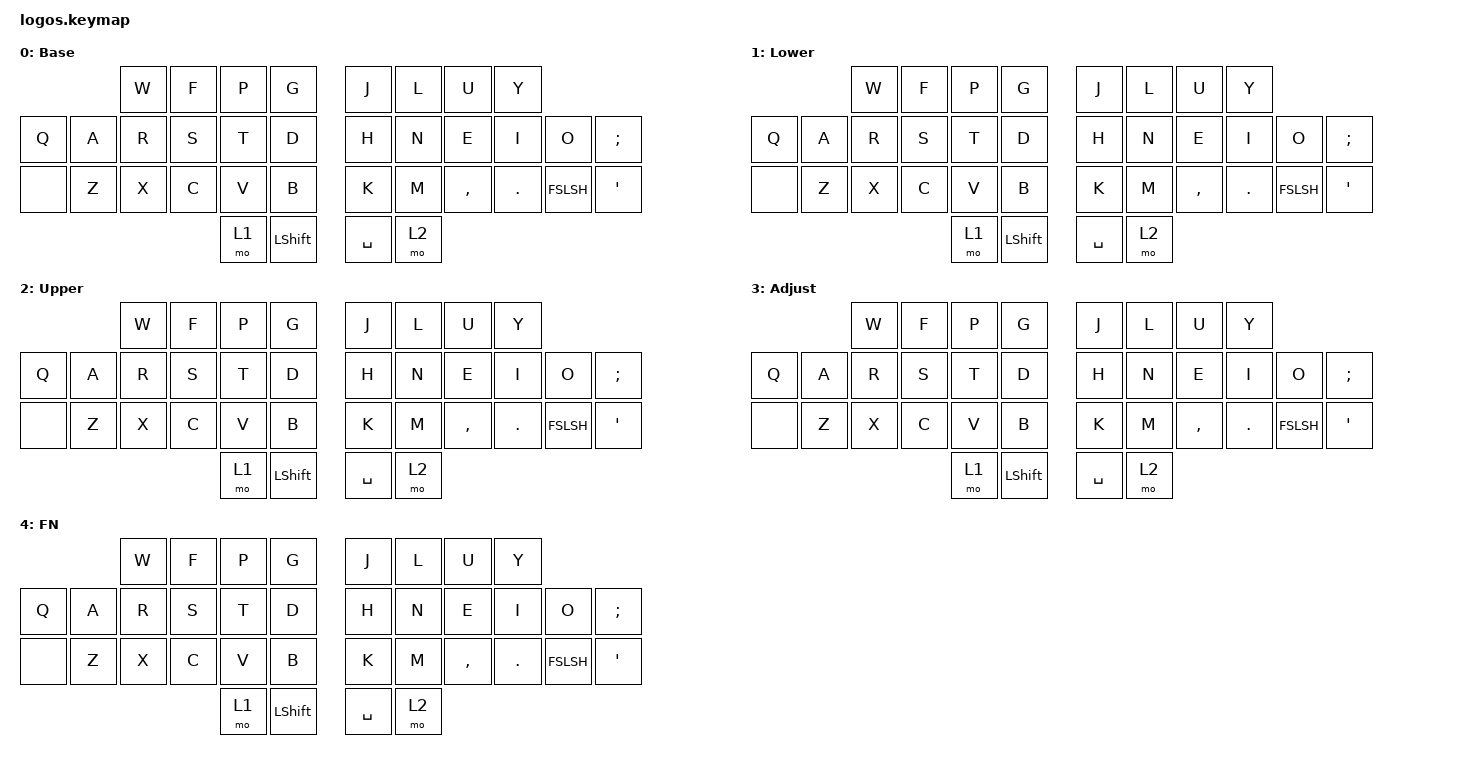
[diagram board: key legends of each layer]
#include <behaviours.dtsi>
#include <dt-bindings/zmk/keys.h>
#include <dt-bindings/zmk/bt.h>

/ {
    keymap {
        compatible = "zmk,keymap";
        default_layer {
            display-name = "Base";
            bindings = <
                            &kp W &kp F &kp P &kp G     &kp J &kp L &kp U &kp Y 
                &kp Q &kp A &kp R &kp S &kp T &kp D     &kp H &kp N &kp E &kp I &kp O &kp SEMI
                &none &kp Z &kp X &kp C &kp V &kp B     &kp K &kp M &kp COMMA &kp DOT &kp FSLSH &kp SQT
                                        &mo 1 &kp LSHFT &kp SPACE &mo 2
            >;
        };
        lower_layer {
            display-name = "Lower";
            bindings = <
                            &kp W &kp F &kp P &kp G     &kp J &kp L &kp U &kp Y 
                &kp Q &kp A &kp R &kp S &kp T &kp D     &kp H &kp N &kp E &kp I &kp O &kp SEMI
                &none &kp Z &kp X &kp C &kp V &kp B     &kp K &kp M &kp COMMA &kp DOT &kp FSLSH &kp SQT
                                        &mo 1 &kp LSHFT &kp SPACE &mo 2
            >;
        };
        raise_layer {
            display-name = "Upper";
            bindings = <
                            &kp W &kp F &kp P &kp G     &kp J &kp L &kp U &kp Y 
                &kp Q &kp A &kp R &kp S &kp T &kp D     &kp H &kp N &kp E &kp I &kp O &kp SEMI
                &none &kp Z &kp X &kp C &kp V &kp B     &kp K &kp M &kp COMMA &kp DOT &kp FSLSH &kp SQT
                                        &mo 1 &kp LSHFT &kp SPACE &mo 2
            >;
        };
        adjust_layer {
            display-name = "Adjust";
            bindings = <
                            &kp W &kp F &kp P &kp G     &kp J &kp L &kp U &kp Y 
                &kp Q &kp A &kp R &kp S &kp T &kp D     &kp H &kp N &kp E &kp I &kp O &kp SEMI
                &none &kp Z &kp X &kp C &kp V &kp B     &kp K &kp M &kp COMMA &kp DOT &kp FSLSH &kp SQT
                                        &mo 1 &kp LSHFT &kp SPACE &mo 2
            >;
        };
        fn_layer {
            display-name = "FN";
            bindings = <
                            &kp W &kp F &kp P &kp G     &kp J &kp L &kp U &kp Y 
                &kp Q &kp A &kp R &kp S &kp T &kp D     &kp H &kp N &kp E &kp I &kp O &kp SEMI
                &none &kp Z &kp X &kp C &kp V &kp B     &kp K &kp M &kp COMMA &kp DOT &kp FSLSH &kp SQT
                                        &mo 1 &kp LSHFT &kp SPACE &mo 2
            >;
        };
    };
    conditional_layers {
        compatible = "zmk,conditional-layers";
        tri_layer {
            if-layers = <1 2>;
            then-layer = <3>;
        };
    };
    combos {
        compatible = "zmk,combos";
        combo_lshft {
            slow-release;
            timeout-ms = <50>;
            key-positions = <0 1>;
            bindings = <&sk LSHFT>;
        };
        combo_rshft {
            slow-release;
            timeout-ms = <50>;
            key-positions = <6 7>;
            bindings = <&sk LSHFT>;
        };
        combo_lctrl {
            slow-release;
            timeout-ms = <50>;
            key-positions = <1 2>;
            bindings = <&sk LCTRL>;
        };
        combo_rctrl {
            slow-release;
            timeout-ms = <50>;
            key-positions = <5 6>;
            bindings = <&sk LCTRL>;
        };
        combo_lwin {
            slow-release;
            timeout-ms = <50>;
            key-positions = <1 3>;
            bindings = <&kp LWIN>;
        };
        combo_rwin {
            slow-release;
            timeout-ms = <50>;
            key-positions = <4 6>;
            bindings = <&kp LWIN>;
        };
        combo_lalt {
            slow-release;
            timeout-ms = <50>;
            key-positions = <0 8>;
            bindings = <&sk LALT>;
        };
        combo_ralt {
            slow-release;
            timeout-ms = <50>;
            key-positions = <7 19>;
            bindings = <&sk LALT>;
        };
        combo_lpar {
            slow-release;
            timeout-ms = <50>;
            key-positions = <22 23>;
            bindings = <&sk LPAR>;
        };
        combo_rpar {
            slow-release;
            timeout-ms = <50>;
            key-positions = <26 27>;
            bindings = <&sk RPAR>;
        };
    };
};
